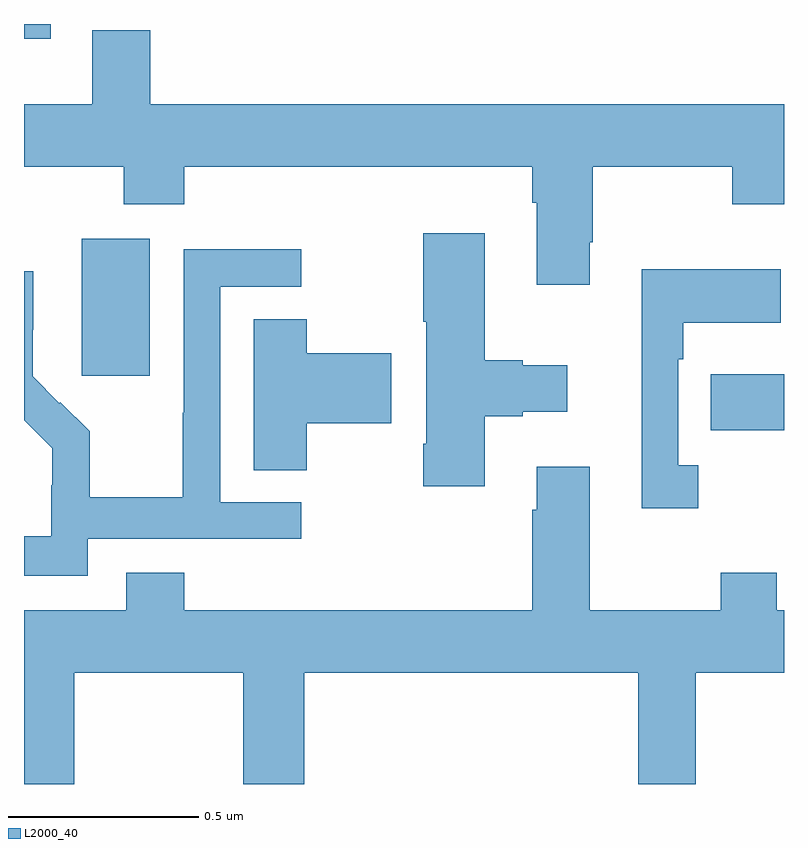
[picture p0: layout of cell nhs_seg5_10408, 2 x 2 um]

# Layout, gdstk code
import gdstk
lib = gdstk.Library(unit=1e-6, precision=1e-09)
def R(c, l, rs):  # rectangles x0, y0, x1, y1
    for r in rs: c.add(gdstk.rectangle(r[:2], r[2:], *l))
def P(c, l, *ps):  # polygons
    for p in ps: c.add(gdstk.Polygon(p, *l))
L2000_40 = (2000, 40)

nhs_seg5_10408 = lib.new_cell('nhs_seg5_10408')
R(nhs_seg5_10408, L2000_40, [(247.807,858.73,248,858.877), (246.152,858.873,246.331,859.234), (246,859.76,246.07,859.799)])
P(nhs_seg5_10408, L2000_40, [(247.489,859.225),(247.497,859.225),(247.497,859.424),(247.864,859.424),(247.864,859.325),(248,859.325),(248,859.588),(246.332,859.588),(246.332,859.783),(246.179,859.783),(246.179,859.588),(246,859.588),(246,859.424),(246.262,859.424),(246.262,859.325),(246.422,859.325),(246.422,859.424),(247.337,859.424),(247.337,859.328),(247.349,859.328),(247.349,859.113),(247.489,859.113)],
  [(247.213,858.767),(247.313,858.767),(247.313,858.779),(247.429,858.779),(247.429,858.901),(247.313,858.901),(247.313,858.914),(247.213,858.914),(247.213,859.249),(247.051,859.249),(247.051,859.015),(247.058,859.015),(247.058,858.694),(247.051,858.694),(247.051,858.582),(247.213,858.582)],
  [(246.168,858.444),(246.73,858.444),(246.73,858.54),(246.516,858.54),(246.516,859.107),(246.73,859.107),(246.73,859.206),(246.42,859.206),(246.42,858.776),(246.418,858.776),(246.418,858.553),(246.173,858.553),(246.173,858.727),(246.096,858.804),(246.093,858.801),(246.023,858.872),(246.023,858.994),(246.024,858.994),(246.024,859.148),(246,859.148),(246,858.758),(246.001,858.757),(246,858.756),(246.074,858.682),(246.074,858.585),(246.072,858.585),(246.072,858.451),(246,858.451),(246,858.347),(246.168,858.347)],
  [(247.774,858.638),(247.722,858.638),(247.722,858.917),(247.735,858.917),(247.735,859.013),(247.991,859.013),(247.991,859.153),(247.625,859.153),(247.625,858.525),(247.774,858.525)],
  [(246.744,858.749),(246.967,858.749),(246.967,858.932),(246.744,858.932),(246.744,859.022),(246.605,859.022),(246.605,858.625),(246.744,858.625)],
  [(246.132,858.092),(246.577,858.092),(246.577,857.799),(246.737,857.799),(246.737,858.092),(247.616,858.092),(247.616,857.799),(247.768,857.799),(247.768,858.092),(248,858.092),(248,858.256),(247.981,858.256),(247.981,858.355),(247.834,858.355),(247.834,858.256),(247.489,858.256),(247.489,858.634),(247.349,858.634),(247.349,858.521),(247.337,858.521),(247.337,858.256),(246.422,858.256),(246.422,858.355),(246.269,858.355),(246.269,858.256),(246,858.256),(246,857.799),(246.132,857.799)])

lib.write_gds('nhs_seg5_10408.gds')
